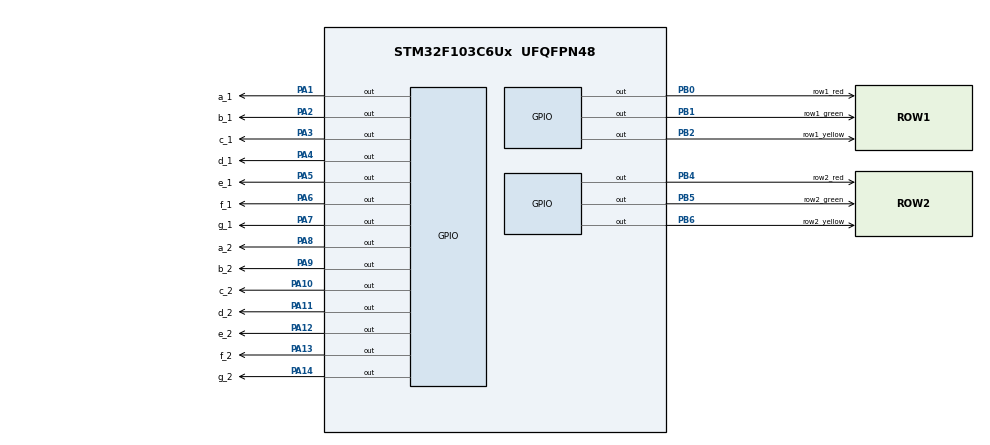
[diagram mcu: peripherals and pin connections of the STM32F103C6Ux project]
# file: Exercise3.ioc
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Mcu.Family=STM32F1
Mcu.Name=STM32F103C6Ux
Mcu.Package=UFQFPN48
NVIC.PriorityGroup=NVIC_PRIORITYGROUP_4
PA1.GPIO_Label=a_1
PA1.Signal=GPIO_Output
PA10.GPIO_Label=c_2
PA10.Signal=GPIO_Output
PA11.GPIO_Label=d_2
PA11.Signal=GPIO_Output
PA12.GPIO_Label=e_2
PA12.Signal=GPIO_Output
PA13.GPIO_Label=f_2
PA13.Signal=GPIO_Output
PA14.GPIO_Label=g_2
PA14.Signal=GPIO_Output
PA2.GPIO_Label=b_1
PA2.Signal=GPIO_Output
PA3.GPIO_Label=c_1
PA3.Signal=GPIO_Output
PA4.GPIO_Label=d_1
PA4.Signal=GPIO_Output
PA5.GPIO_Label=e_1
PA5.Signal=GPIO_Output
PA6.GPIO_Label=f_1
PA6.Signal=GPIO_Output
PA7.GPIO_Label=g_1
PA7.Signal=GPIO_Output
PA8.GPIO_Label=a_2
PA8.Signal=GPIO_Output
PA9.GPIO_Label=b_2
PA9.Signal=GPIO_Output
PB0.GPIO_Label=row1_red
PB0.Signal=GPIO_Output
PB1.GPIO_Label=row1_green
PB1.Signal=GPIO_Output
PB2.GPIO_Label=row1_yellow
PB2.Signal=GPIO_Output
PB4.GPIO_Label=row2_red
PB4.Signal=GPIO_Output
PB5.GPIO_Label=row2_green
PB5.Signal=GPIO_Output
PB6.GPIO_Label=row2_yellow
PB6.Signal=GPIO_Output
ProjectManager.HeapSize=0x200
ProjectManager.StackSize=0x400
ProjectManager.TargetToolchain=STM32CubeIDE
RCC.APB1Freq_Value=8000000
RCC.APB2Freq_Value=8000000
board=custom

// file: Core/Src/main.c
/* USER CODE BEGIN Header */
/**
  ******************************************************************************
  * @file           : main.c
  * @brief          : Main program body
  ******************************************************************************
  * @attention
  *
  * Copyright (c) 2022 STMicroelectronics.
  * All rights reserved.
  *
  * This software is licensed under terms that can be found in the LICENSE file
  * in the root directory of this software component.
  * If no LICENSE file comes with this software, it is provided AS-IS.
  *
  ******************************************************************************
  */
/* USER CODE END Header */
#include "main.h"

void SystemClock_Config(void);
static void MX_GPIO_Init(void);

/* USER CODE BEGIN 0 */
void display7SEG (int num, GPIO_TypeDef * GPIO_TYPE, uint16_t a_Pin, uint16_t b_Pin, uint16_t c_Pin, uint16_t d_Pin, uint16_t e_Pin, uint16_t f_Pin, uint16_t g_Pin){
	switch (num){
		case 0:
			HAL_GPIO_WritePin(GPIO_TYPE, a_Pin, RESET);
			HAL_GPIO_WritePin(GPIO_TYPE, b_Pin, RESET);
			HAL_GPIO_WritePin(GPIO_TYPE, c_Pin, RESET);
			HAL_GPIO_WritePin(GPIO_TYPE, d_Pin, RESET);
			HAL_GPIO_WritePin(GPIO_TYPE, e_Pin, RESET);
			HAL_GPIO_WritePin(GPIO_TYPE, f_Pin, RESET);
			HAL_GPIO_WritePin(GPIO_TYPE, g_Pin, SET);
			break;
		case 1:
			HAL_GPIO_WritePin(GPIO_TYPE, a_Pin, SET);
			HAL_GPIO_WritePin(GPIO_TYPE, b_Pin, RESET);
			HAL_GPIO_WritePin(GPIO_TYPE, c_Pin, RESET);
			HAL_GPIO_WritePin(GPIO_TYPE, d_Pin, SET);
			HAL_GPIO_WritePin(GPIO_TYPE, e_Pin, SET);
			HAL_GPIO_WritePin(GPIO_TYPE, f_Pin, SET);
			HAL_GPIO_WritePin(GPIO_TYPE, g_Pin, SET);
			break;
		case 2:
			HAL_GPIO_WritePin(GPIO_TYPE, a_Pin, RESET);
			HAL_GPIO_WritePin(GPIO_TYPE, b_Pin, RESET);
			HAL_GPIO_WritePin(GPIO_TYPE, c_Pin, SET);
			HAL_GPIO_WritePin(GPIO_TYPE, d_Pin, RESET);
			HAL_GPIO_WritePin(GPIO_TYPE, e_Pin, RESET);
			HAL_GPIO_WritePin(GPIO_TYPE, f_Pin, SET);
			HAL_GPIO_WritePin(GPIO_TYPE, g_Pin, RESET);
			break;
		case 3:
			HAL_GPIO_WritePin(GPIO_TYPE, a_Pin, RESET);
			HAL_GPIO_WritePin(GPIO_TYPE, b_Pin, RESET);
			HAL_GPIO_WritePin(GPIO_TYPE, c_Pin, RESET);
			HAL_GPIO_WritePin(GPIO_TYPE, d_Pin, RESET);
			HAL_GPIO_WritePin(GPIO_TYPE, e_Pin, SET);
			HAL_GPIO_WritePin(GPIO_TYPE, f_Pin, SET);
			HAL_GPIO_WritePin(GPIO_TYPE, g_Pin, RESET);
			break;
		case 4:
			HAL_GPIO_WritePin(GPIO_TYPE, a_Pin, SET);
			HAL_GPIO_WritePin(GPIO_TYPE, b_Pin, RESET);
			HAL_GPIO_WritePin(GPIO_TYPE, c_Pin, RESET);
			HAL_GPIO_WritePin(GPIO_TYPE, d_Pin, SET);
			HAL_GPIO_WritePin(GPIO_TYPE, e_Pin, SET);
			HAL_GPIO_WritePin(GPIO_TYPE, f_Pin, RESET);
			HAL_GPIO_WritePin(GPIO_TYPE, g_Pin, RESET);
			break;
		case 5:
			HAL_GPIO_WritePin(GPIO_TYPE, a_Pin, RESET);
			HAL_GPIO_WritePin(GPIO_TYPE, b_Pin, SET);
			HAL_GPIO_WritePin(GPIO_TYPE, c_Pin, RESET);
			HAL_GPIO_WritePin(GPIO_TYPE, d_Pin, RESET);
			HAL_GPIO_WritePin(GPIO_TYPE, e_Pin, SET);
			HAL_GPIO_WritePin(GPIO_TYPE, f_Pin, RESET);
			HAL_GPIO_WritePin(GPIO_TYPE, g_Pin, RESET);
			break;
		case 6:
			HAL_GPIO_WritePin(GPIO_TYPE, a_Pin, RESET);
			HAL_GPIO_WritePin(GPIO_TYPE, b_Pin, SET);
			HAL_GPIO_WritePin(GPIO_TYPE, c_Pin, RESET);
			HAL_GPIO_WritePin(GPIO_TYPE, d_Pin, RESET);
			HAL_GPIO_WritePin(GPIO_TYPE, e_Pin, RESET);
			HAL_GPIO_WritePin(GPIO_TYPE, f_Pin, RESET);
			HAL_GPIO_WritePin(GPIO_TYPE, g_Pin, RESET);
			break;
		case 7:
			HAL_GPIO_WritePin(GPIO_TYPE, a_Pin, RESET);
			HAL_GPIO_WritePin(GPIO_TYPE, b_Pin, RESET);
			HAL_GPIO_WritePin(GPIO_TYPE, c_Pin, RESET);
			HAL_GPIO_WritePin(GPIO_TYPE, d_Pin, SET);
			HAL_GPIO_WritePin(GPIO_TYPE, e_Pin, SET);
			HAL_GPIO_WritePin(GPIO_TYPE, f_Pin, SET);
			HAL_GPIO_WritePin(GPIO_TYPE, g_Pin, SET);
			break;
		case 8:
			HAL_GPIO_WritePin(GPIO_TYPE, a_Pin, RESET);
			HAL_GPIO_WritePin(GPIO_TYPE, b_Pin, RESET);
			HAL_GPIO_WritePin(GPIO_TYPE, c_Pin, RESET);
			HAL_GPIO_WritePin(GPIO_TYPE, d_Pin, RESET);
			HAL_GPIO_WritePin(GPIO_TYPE, e_Pin, RESET);
			HAL_GPIO_WritePin(GPIO_TYPE, f_Pin, RESET);
			HAL_GPIO_WritePin(GPIO_TYPE, g_Pin, RESET);
			break;
		case 9:
			HAL_GPIO_WritePin(GPIO_TYPE, a_Pin, RESET);
			HAL_GPIO_WritePin(GPIO_TYPE, b_Pin, RESET);
			HAL_GPIO_WritePin(GPIO_TYPE, c_Pin, RESET);
			HAL_GPIO_WritePin(GPIO_TYPE, d_Pin, RESET);
			HAL_GPIO_WritePin(GPIO_TYPE, e_Pin, SET);
			HAL_GPIO_WritePin(GPIO_TYPE, f_Pin, RESET);
			HAL_GPIO_WritePin(GPIO_TYPE, g_Pin, RESET);
			break;
		default:
			break;
	}
}
/* USER CODE END 0 */

int main(void)
{

  /* MCU Configuration--------------------------------------------------------*/

  /* Reset of all peripherals, Initializes the Flash interface and the Systick. */
  HAL_Init();

  /* Configure the system clock */
  SystemClock_Config();

  /* Initialize all configured peripherals */
  MX_GPIO_Init();

  /* Infinite loop */
  /* USER CODE BEGIN WHILE */
  int time_period;
  while (1)
  {
    HAL_GPIO_WritePin(row1_green_GPIO_Port, row1_green_Pin, SET);
    HAL_GPIO_WritePin(row2_red_GPIO_Port, row2_red_Pin, SET);
    time_period = 6;
    while(time_period >= 0) {
    	display7SEG(time_period, GPIOA, a_1_Pin, b_1_Pin, c_1_Pin, d_1_Pin, e_1_Pin, f_1_Pin, g_1_Pin);
    	display7SEG(time_period + 3, GPIOA, a_2_Pin, b_2_Pin, c_2_Pin, d_2_Pin, e_2_Pin, f_2_Pin, g_2_Pin);
    	time_period -= 1;
    	HAL_Delay(1000);
    }
    HAL_GPIO_WritePin(row1_green_GPIO_Port, row1_green_Pin, RESET);
    HAL_GPIO_WritePin(row1_yellow_GPIO_Port, row1_yellow_Pin, SET);
    time_period = 2;
    while(time_period >= 0) {
		display7SEG(time_period, GPIOA, a_1_Pin, b_1_Pin, c_1_Pin, d_1_Pin, e_1_Pin, f_1_Pin, g_1_Pin);
		display7SEG(time_period, GPIOA, a_2_Pin, b_2_Pin, c_2_Pin, d_2_Pin, e_2_Pin, f_2_Pin, g_2_Pin);
		time_period -= 1;
		HAL_Delay(1000);
	}
    HAL_GPIO_WritePin(row1_red_GPIO_Port, row1_red_Pin, SET);
    HAL_GPIO_WritePin(row1_yellow_GPIO_Port, row1_yellow_Pin, RESET);
    HAL_GPIO_WritePin(row2_red_GPIO_Port, row2_red_Pin, RESET);
    HAL_GPIO_WritePin(row2_green_GPIO_Port, row2_green_Pin, SET);
    time_period = 6;
    while(time_period >= 0) {
		display7SEG(time_period + 3, GPIOA, a_1_Pin, b_1_Pin, c_1_Pin, d_1_Pin, e_1_Pin, f_1_Pin, g_1_Pin);
		display7SEG(time_period, GPIOA, a_2_Pin, b_2_Pin, c_2_Pin, d_2_Pin, e_2_Pin, f_2_Pin, g_2_Pin);
		time_period -= 1;
		HAL_Delay(1000);
	}
    HAL_GPIO_WritePin(row2_yellow_GPIO_Port, row2_yellow_Pin, SET);
    HAL_GPIO_WritePin(row2_green_GPIO_Port, row2_green_Pin, RESET);
    time_period = 2;
	while(time_period >= 0) {
		display7SEG(time_period, GPIOA, a_1_Pin, b_1_Pin, c_1_Pin, d_1_Pin, e_1_Pin, f_1_Pin, g_1_Pin);
		display7SEG(time_period, GPIOA, a_2_Pin, b_2_Pin, c_2_Pin, d_2_Pin, e_2_Pin, f_2_Pin, g_2_Pin);
		time_period -= 1;
		HAL_Delay(1000);
	}
    HAL_GPIO_WritePin(row1_red_GPIO_Port, row1_red_Pin, RESET);
    HAL_GPIO_WritePin(row2_green_GPIO_Port, row2_green_Pin, RESET);
    HAL_GPIO_WritePin(row2_yellow_GPIO_Port, row2_yellow_Pin, RESET);
    /* USER CODE END WHILE */

  }
}

void SystemClock_Config(void)
{
  RCC_OscInitTypeDef RCC_OscInitStruct = {0};
  RCC_ClkInitTypeDef RCC_ClkInitStruct = {0};

  /** Initializes the RCC Oscillators according to the specified parameters
  * in the RCC_OscInitTypeDef structure.
  */
  RCC_OscInitStruct.OscillatorType = RCC_OSCILLATORTYPE_HSI;
  RCC_OscInitStruct.HSIState = RCC_HSI_ON;
  RCC_OscInitStruct.HSICalibrationValue = RCC_HSICALIBRATION_DEFAULT;
  RCC_OscInitStruct.PLL.PLLState = RCC_PLL_NONE;
  if (HAL_RCC_OscConfig(&RCC_OscInitStruct) != HAL_OK)
  {
    Error_Handler();
  }

  /** Initializes the CPU, AHB and APB buses clocks
  */
  RCC_ClkInitStruct.ClockType = RCC_CLOCKTYPE_HCLK|RCC_CLOCKTYPE_SYSCLK
                              |RCC_CLOCKTYPE_PCLK1|RCC_CLOCKTYPE_PCLK2;
  RCC_ClkInitStruct.SYSCLKSource = RCC_SYSCLKSOURCE_HSI;
  RCC_ClkInitStruct.AHBCLKDivider = RCC_SYSCLK_DIV1;
  RCC_ClkInitStruct.APB1CLKDivider = RCC_HCLK_DIV1;
  RCC_ClkInitStruct.APB2CLKDivider = RCC_HCLK_DIV1;

  if (HAL_RCC_ClockConfig(&RCC_ClkInitStruct, FLASH_LATENCY_0) != HAL_OK)
  {
    Error_Handler();
  }
}

static void MX_GPIO_Init(void)
{
  GPIO_InitTypeDef GPIO_InitStruct = {0};

  /* GPIO Ports Clock Enable */
  __HAL_RCC_GPIOA_CLK_ENABLE();
  __HAL_RCC_GPIOB_CLK_ENABLE();

  /*Configure GPIO pin Output Level */
  HAL_GPIO_WritePin(GPIOA, a_1_Pin|b_1_Pin|c_1_Pin|d_1_Pin
                          |e_1_Pin|f_1_Pin|g_1_Pin|a_2_Pin
                          |b_2_Pin|c_2_Pin|d_2_Pin|e_2_Pin
                          |f_2_Pin|g_2_Pin, GPIO_PIN_RESET);

  /*Configure GPIO pin Output Level */
  HAL_GPIO_WritePin(GPIOB, row1_red_Pin|row1_green_Pin|row1_yellow_Pin|row2_red_Pin
                          |row2_green_Pin|row2_yellow_Pin, GPIO_PIN_RESET);

  /*Configure GPIO pins : a_1_Pin b_1_Pin c_1_Pin d_1_Pin
                           e_1_Pin f_1_Pin g_1_Pin a_2_Pin
                           b_2_Pin c_2_Pin d_2_Pin e_2_Pin
                           f_2_Pin g_2_Pin */
  GPIO_InitStruct.Pin = a_1_Pin|b_1_Pin|c_1_Pin|d_1_Pin
                          |e_1_Pin|f_1_Pin|g_1_Pin|a_2_Pin
                          |b_2_Pin|c_2_Pin|d_2_Pin|e_2_Pin
                          |f_2_Pin|g_2_Pin;
  GPIO_InitStruct.Mode = GPIO_MODE_OUTPUT_PP;
  GPIO_InitStruct.Pull = GPIO_NOPULL;
  GPIO_InitStruct.Speed = GPIO_SPEED_FREQ_LOW;
  HAL_GPIO_Init(GPIOA, &GPIO_InitStruct);

  /*Configure GPIO pins : row1_red_Pin row1_green_Pin row1_yellow_Pin row2_red_Pin
                           row2_green_Pin row2_yellow_Pin */
  GPIO_InitStruct.Pin = row1_red_Pin|row1_green_Pin|row1_yellow_Pin|row2_red_Pin
                          |row2_green_Pin|row2_yellow_Pin;
  GPIO_InitStruct.Mode = GPIO_MODE_OUTPUT_PP;
  GPIO_InitStruct.Pull = GPIO_NOPULL;
  GPIO_InitStruct.Speed = GPIO_SPEED_FREQ_LOW;
  HAL_GPIO_Init(GPIOB, &GPIO_InitStruct);

}

void Error_Handler(void)
{
  __disable_irq();
  while (1)
  {
  }
}
